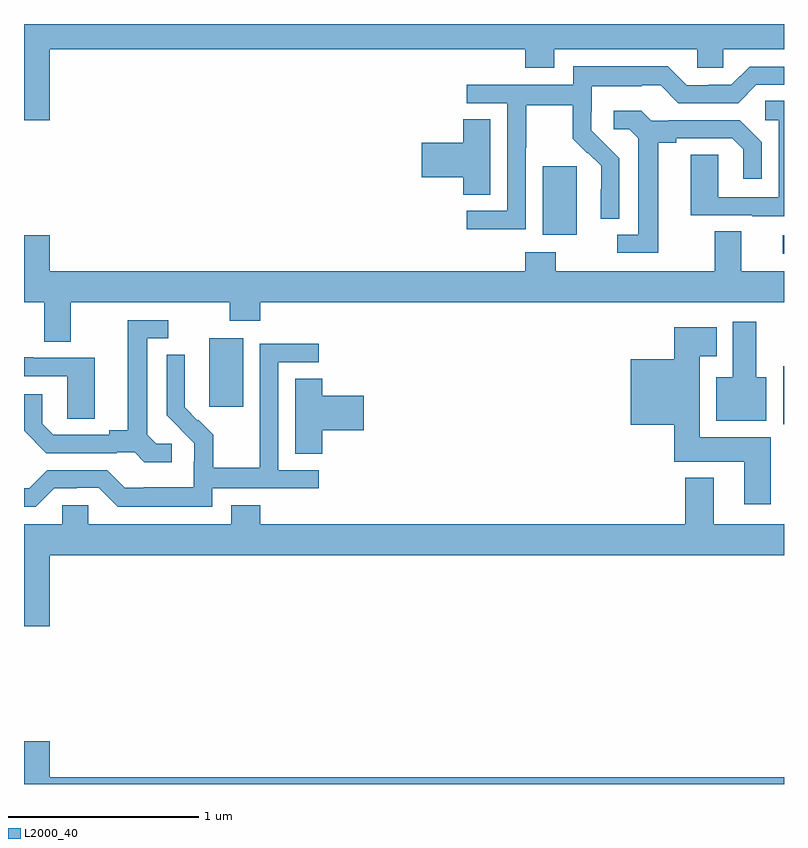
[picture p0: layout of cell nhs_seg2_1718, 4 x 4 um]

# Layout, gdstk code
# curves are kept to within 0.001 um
import gdstk
lib = gdstk.Library(unit=1e-6, precision=1e-09)
def R(c, l, rs):  # rectangles x0, y0, x1, y1
    for r in rs: c.add(gdstk.rectangle(r[:2], r[2:], *l))
def P(c, l, *ps):  # polygons
    for p in ps: c.add(gdstk.Polygon(p, *l))
L2000_40 = (2000, 40)

nhs_seg2_1718 = lib.new_cell('nhs_seg2_1718')
R(nhs_seg2_1718, L2000_40, [(204.995,613.694,205,613.999), (201.974,613.785,202.153,614.146), (204.993,614.592,205,614.688), (203.729,614.69,203.908,615.051)])
P(nhs_seg2_1718, L2000_40, [(201.136,615.668),(203.639,615.668),(203.639,615.569),(203.791,615.569),(203.791,615.668),(204.543,615.668),(204.543,615.57),(204.681,615.57),(204.681,615.668),(205,615.668),(205,615.8),(201,615.8),(201,615.294),(201.136,615.294)],
  [(203.64,615.148),(203.643,615.148),(203.643,615.372),(203.887,615.372),(203.887,615.197),(203.964,615.12),(203.967,615.123),(204.038,615.053),(204.038,614.93),(204.036,614.93),(204.036,614.776),(204.132,614.776),(204.132,615.094),(203.986,615.242),(203.986,615.339),(203.988,615.339),(203.988,615.473),(204.251,615.473),(204.251,615.477),(204.351,615.477),(204.444,615.384),(204.759,615.384),(204.855,615.48),(205,615.48),(205,615.576),(204.819,615.576),(204.723,615.48),(204.605,615.48),(204.605,615.477),(204.489,615.477),(204.389,615.577),(203.892,615.577),(203.892,615.48),(203.331,615.48),(203.331,615.384),(203.544,615.384),(203.544,614.817),(203.331,614.817),(203.331,614.719),(203.64,614.719)],
  [(205,615.395),(204.9,615.395),(204.9,615.294),(204.972,615.294),(204.972,614.889),(204.654,614.889),(204.654,615.113),(204.509,615.113),(204.509,614.793),(204.833,614.793),(204.833,614.789),(205,614.789)],
  [(204.337,615.176),(204.433,615.176),(204.433,615.198),(204.728,615.198),(204.785,615.141),(204.785,614.985),(204.882,614.985),(204.882,615.178),(204.766,615.294),(204.394,615.294),(204.394,615.291),(204.3,615.291),(204.248,615.343),(204.105,615.343),(204.105,615.246),(204.186,615.246),(204.233,615.199),(204.233,614.691),(204.123,614.691),(204.123,614.595),(204.337,614.595)],
  [(203.455,615.299),(203.312,615.299),(203.312,615.176),(203.094,615.176),(203.094,614.993),(203.312,614.993),(203.312,614.902),(203.455,614.902)],
  [(201.247,614.336),(202.084,614.336),(202.084,614.237),(202.244,614.237),(202.244,614.336),(205,614.336),(205,614.5),(204.775,614.5),(204.775,614.708),(204.635,614.708),(204.635,614.5),(203.799,614.5),(203.799,614.599),(203.639,614.599),(203.639,614.5),(201.136,614.5),(201.136,614.689),(201,614.689),(201,614.336),(201.107,614.336),(201.107,614.128),(201.247,614.128)],
  [(201.778,613.59),(201.696,613.59),(201.649,613.637),(201.649,614.145),(201.76,614.145),(201.76,614.241),(201.545,614.241),(201.545,613.661),(201.449,613.661),(201.449,613.638),(201.154,613.638),(201.097,613.695),(201.097,613.852),(201,613.852),(201,613.658),(201.116,613.542),(201.488,613.542),(201.488,613.545),(201.582,613.545),(201.634,613.493),(201.778,613.493)],
  [(204.907,613.942),(204.853,613.942),(204.853,614.233),(204.731,614.233),(204.731,613.942),(204.644,613.942),(204.644,613.712),(204.907,613.712)],
  [(204.931,613.624),(204.556,613.624),(204.556,614.051),(204.646,614.051),(204.646,614.203),(204.422,614.203),(204.422,614.035),(204.194,614.035),(204.194,613.691),(204.422,613.691),(204.422,613.496),(204.791,613.496),(204.791,613.272),(204.931,613.272)],
  [(201.99,613.356),(202.552,613.356),(202.552,613.452),(202.338,613.452),(202.338,614.019),(202.552,614.019),(202.552,614.118),(202.242,614.118),(202.242,613.688),(202.24,613.688),(202.24,613.465),(201.995,613.465),(201.995,613.639),(201.918,613.716),(201.915,613.713),(201.845,613.784),(201.846,614.06),(201.75,614.06),(201.75,613.742),(201.896,613.594),(201.896,613.497),(201.894,613.497),(201.894,613.363),(201.631,613.363),(201.631,613.359),(201.531,613.359),(201.438,613.452),(201.123,613.452),(201.027,613.356),(201,613.356),(201,613.26),(201.063,613.26),(201.159,613.356),(201.278,613.356),(201.278,613.359),(201.393,613.359),(201.493,613.259),(201.99,613.259)],
  [(201.373,614.043),(201.049,614.043),(201.049,614.047),(201,614.047),(201,613.947),(201.228,613.947),(201.228,613.723),(201.373,613.723)],
  [(202.571,613.661),(202.789,613.661),(202.789,613.844),(202.571,613.844),(202.571,613.934),(202.427,613.934),(202.427,613.537),(202.571,613.537)],
  [(201.136,613.004),(205,613.004),(205,613.168),(204.631,613.168),(204.631,613.411),(204.479,613.411),(204.479,613.168),(202.244,613.168),(202.244,613.267),(202.091,613.267),(202.091,613.168),(201.339,613.168),(201.339,613.266),(201.201,613.266),(201.201,613.168),(201,613.168),(201,612.63),(201.136,612.63)],
  [(205,611.836),(201.136,611.836),(201.136,612.025),(201,612.025),(201,611.8),(205,611.8)])

lib.write_gds('nhs_seg2_1718.gds')
